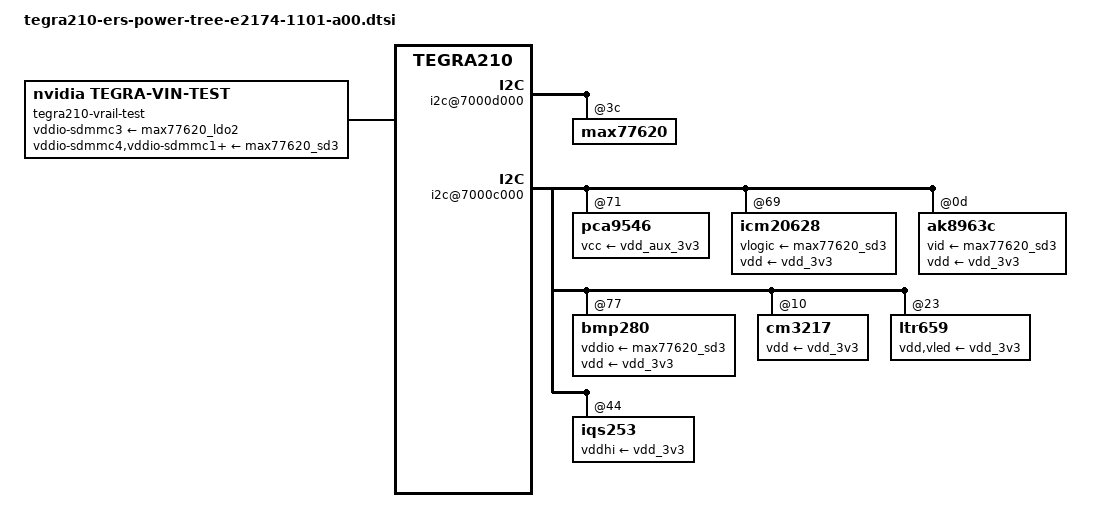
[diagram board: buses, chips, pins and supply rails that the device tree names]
/*
 * Copyright (c) 2014-2016, NVIDIA CORPORATION.  All rights reserved.
 *
 * This program is free software; you can redistribute it and/or modify
 * it under the terms of the GNU General Public License as published by
 * the Free Software Foundation; either version 2 of the License, or
 * (at your option) any later version.
 *
 * This program is distributed in the hope that it will be useful, but WITHOUT
 * ANY WARRANTY; without even the implied warranty of MERCHANTABILITY or
 * FITNESS FOR A PARTICULAR PURPOSE.  See the GNU General Public License for
 * more details.
 *
 * You should have received a copy of the GNU General Public License along
 * with this program; if not, write to the Free Software Foundation, Inc.,
 * 51 Franklin Street, Fifth Floor, Boston, MA  02110-1301, USA.
 */

#include "tegra210-ers-pmic-e2174-1101-a00.dtsi"
#include "tegra210-ers-fixed-e2174-1101-a00.dtsi"
#include "tegra210-ers-power-dvfs-e2174-1101-a00.dtsi"

/ {
	i2c@7000d000 {
		max77620@3c {
			regulators {
				sd0 {
					regulator-enable-ramp-delay = <120>;
					regulator-disable-ramp-delay = <1720>;
					regulator-ramp-delay = <27500>;
					regulator-ramp-delay-scale = <400>;
				};

				sd1 {
					regulator-enable-ramp-delay = <120>;
					regulator-disable-ramp-delay = <29200>;
					regulator-ramp-delay = <27500>;
					regulator-ramp-delay-scale = <400>;
				};

				sd2 {
					maxim,active-fps-source = <MAX77620_FPS_SRC_1>;
					maxim,suspend-fps-source = <MAX77620_FPS_SRC_NONE>;
					regulator-enable-ramp-delay = <164>;
					regulator-disable-ramp-delay = <7320>;
					regulator-ramp-delay = <27500>;
					regulator-ramp-delay-scale = <400>;
				};

				sd3 {
					regulator-enable-ramp-delay = <204>;
					regulator-disable-ramp-delay = <58000>;
					regulator-ramp-delay = <27500>;
					regulator-ramp-delay-scale = <400>;
				};

				ldo0 {
					regulator-enable-ramp-delay = <88>;
					regulator-disable-ramp-delay = <4480>;
					regulator-ramp-delay = <100000>;
					regulator-ramp-delay-scale = <800>;
				};

				ldo1 {
					regulator-enable-ramp-delay = <96>;
					regulator-disable-ramp-delay = <3160>;
					regulator-ramp-delay = <100000>;
					regulator-ramp-delay-scale = <1050>;
				};

				ldo2 {
					regulator-enable-ramp-delay = <124>;
					regulator-disable-ramp-delay = <5160>;
					regulator-ramp-delay = <100000>;
					regulator-ramp-delay-scale = <800>;
				};

				ldo3 {
					regulator-enable-ramp-delay = <56>;
					regulator-disable-ramp-delay = <788>;
					regulator-ramp-delay = <100000>;
					regulator-ramp-delay-scale = <200>;
				};

				ldo4 {
					regulator-enable-ramp-delay = <18>;
					regulator-disable-ramp-delay = <568>;
					regulator-ramp-delay = <100000>;
					regulator-ramp-delay-scale = <200>;
				};

				ldo5 {
					regulator-enable-ramp-delay = <300>;
					regulator-disable-ramp-delay = <7360>;
					regulator-ramp-delay = <100000>;
					regulator-ramp-delay-scale = <1100>;
				};

				ldo6 {
					regulator-enable-ramp-delay = <204>;
					regulator-disable-ramp-delay = <4720>;
					regulator-ramp-delay = <100000>;
					regulator-ramp-delay-scale = <800>;
				};

				ldo7 {
					maxim,active-fps-source = <MAX77620_FPS_SRC_1>;
					maxim,suspend-fps-source = <MAX77620_FPS_SRC_NONE>;
					regulator-enable-ramp-delay = <112>;
					regulator-disable-ramp-delay = <11720>;
					regulator-ramp-delay = <100000>;
					regulator-ramp-delay-scale = <1100>;
				};

				ldo8 {
					regulator-enable-ramp-delay = <48>;
					regulator-disable-ramp-delay = <6160>;
					regulator-ramp-delay = <100000>;
					regulator-ramp-delay-scale = <500>;
				};
			};
		};
	};

	regulators {
		regulator@1 {
			regulator-enable-ramp-delay = <720>;
			regulator-disable-ramp-delay = <14480>;
		};

		regulator@2 {
			regulator-enable-ramp-delay = <1056>;
			regulator-disable-ramp-delay = <2580>;
		};

		regulator@4 {
			regulator-enable-ramp-delay = <360>;
			regulator-disable-ramp-delay = <5880>;
		};

		regulator@5 {
			regulator-enable-ramp-delay = <704>;
			regulator-disable-ramp-delay = <220>;
		};

		regulator@6 {
			regulator-enable-ramp-delay = <3000>;
			regulator-disable-ramp-delay = <584000>;
		};

		regulator@7 {
			regulator-enable-ramp-delay = <468>;
			regulator-disable-ramp-delay = <398>;
		};

		regulator@12 {
			regulator-enable-ramp-delay = <340>;
			regulator-disable-ramp-delay = <6480>;
		};

			
		vdd_usb_5v0: regulator@11 {
			status = "okay";
			gpio = <&pca9539_76 6 0>;
		};

		vdd_usb_oc_5v0: regulator@21 {
			compatible = "regulator-pinmux-fixed";
			reg = <21>;
			status = "okay";
			regulator-name = "vdd-usb-oc-5v0";
			regulator-min-microvolt = <5000000>;
			regulator-max-microvolt = <5000000>;
			vin-supply = <&vdd_3v3>;
			enable-active-high;
			pinctrl-names = "enable", "disable";
			pinctrl-0 = <&regulator_enable_state>;
			pinctrl-1 = <&regulator_disable_state>;
		};

		vdd_cdc_1v2_aud: regulator@101 {
			status = "okay";
			gpio = <&pca9539_76 9 0>;
		};
	};

	efuse@7000f800 {
		vpp_fuse-supply = <&max77620_sd3>;
	};

	host1x {
		/* tegradc.0 */
		dc@54200000 {
			avdd_dsi_csi-supply = <&max77620_gpio7>;
			avdd_lcd-supply = <&max77620_gpio7>;
			dvdd_lcd-supply = <&max77620_sd3>;
			vdd_lcd_bl_en-supply = <&lcd_bl_en>;
			vdd_lcd_bl-supply = <&battery_reg>;
			vdd_ds_1v8-supply = <&battery_reg>;
		};
		/* tegradc.1 */
		dc@54240000 {
			avdd_hdmi-supply = <&max77620_ldo8>;
			avdd_hdmi_pll-supply = <&max77620_sd3>;
			vdd_hdmi_5v0-supply = <&vdd_hdmi>;
			vdd_lcd_bl-supply = <&battery_reg>;
			vdd_ds_1v8-supply = <&battery_reg>;

			/* dp */
			vdd-dp-pwr-supply = <&vdd_3v3>;
			avdd-dp-pll-supply = <&max77620_sd3>;
			vdd-edp-sec-mode-supply = <&vdd_sys_boost>;
			vdd-dp-pad-supply = <&max77620_ldo8>;
		};
		vi {
			avdd_dsi_csi-supply = <&max77620_gpio7>;
		};
		i2c@546c0000 {
			bus-pullup-supply = <&en_vdd_cam>;
		};
	};

	i2c@7000c000 {
		pca9546@71 {
			vcc-supply = <&vdd_aux_3v3>;
		};

		icm20628@69 {
			vlogic-supply = <&max77620_sd3>;
			vdd-supply = <&vdd_3v3>;
		};

		ak8963c@0d {
			vid-supply = <&max77620_sd3>;
			vdd-supply = <&vdd_3v3>;
		};

		bmp280@77 {
			vddio-supply = <&max77620_sd3>;
			vdd-supply = <&vdd_3v3>;
		};

		cm3217@10 {
			vdd-supply = <&vdd_3v3>;
		};

		ltr659@23 {
			vdd-supply = <&vdd_3v3>;
			vled-supply = <&vdd_3v3>;
		};

		iqs253@44 {
			vddhi-supply = <&vdd_3v3>;
		};
	};

	xusb@70090000 {
		usb_vbus0-supply = <&usb0_vbus>;
		/* Use the below regulators when OC support is enabled
		usb_vbus1-supply = <&vdd_usb_oc_5v0>;
		usb_vbus2-supply = <&vdd_usb_oc_5v0>;
		usb_vbus3-supply = <&vdd_usb_oc_5v0>;
		*/
		usb_vbus1-supply = <&vdd_usb_5v0>;
		usb_vbus2-supply = <&vdd_usb_5v0>;
		usb_vbus3-supply = <&vdd_usb_5v0>;
		hvdd_usb-supply = <&vdd_3v3>;
		avdd_pll_utmip-supply = <&max77620_sd3>;
		vddio_hsic-supply = <&max77620_ldo0>;
		avddio_usb-supply = <&max77620_ldo1>;
		dvdd_sata-supply = <&max77620_ldo8>;
	};

	xudc@700d0000 {
		hvdd_usb-supply = <&vdd_3v3>;
		avdd_pll_utmip-supply = <&max77620_sd3>;
		avddio_usb-supply = <&max77620_ldo1>;
	};

	xotg {
		usb_vbus-supply = <&usb0_vbus>;
	};

	xusb_padctl {
		avdd_pll_uerefe-supply = <&max77620_ldo7>;
		hvdd_pex_pll_e-supply = <&max77620_sd3>;
		dvdd_pex_pll-supply = <&max77620_ldo1>;
		hvddio_pex-supply = <&max77620_sd3>;
		dvddio_pex-supply = <&max77620_ldo1>;
		hvdd_sata-supply = <&max77620_sd3>;
		dvdd_sata_pll-supply = <&max77620_ldo8>;
		hvddio_sata-supply = <&max77620_sd3>;
		dvddio_sata-supply = <&max77620_ldo8>;
	};

        sata@70020000 {
		dvdd_sata_pll-supply = <&max77620_ldo8>;
		hvdd_sata-supply = <&max77620_sd3>;
		l0_hvddio_sata-supply = <&max77620_sd3>;
		l0_dvddio_sata-supply = <&max77620_ldo8>;
		hvdd_pex_pll_e-supply = <&max77620_sd3>;
        };

	sound {
		ldoen-supply = <&vdd_cdc_1v2_aud>;
		spkvdd-supply = <&vdd_sys_boost>;
		dbvdd-supply = <&max77620_sd3>;
		avdd-supply = <&max77620_sd3>;
		dmicvdd-supply = <&max77620_sd3>;
	};

	pmc-iopower {
		iopower-sys-supply = <&max77620_sd3>;
		iopower-uart-supply = <&max77620_sd3>;
		iopower-audio-supply = <&max77620_sd3>;
		iopower-cam-supply = <&max77620_sd3>;
		iopower-pex-ctrl-supply = <&max77620_sd3>;
		iopower-sdmmc1-supply = <&max77620_sd3>;
		iopower-sdmmc3-supply = <&max77620_ldo2>;
		iopower-sdmmc4-supply = <&max77620_sd3>;
		iopower-audio-hv-supply = <&max77620_sd3>;
		iopower-debug-supply = <&max77620_sd3>;
		iopower-dmic-supply = <&max77620_sd3>;
		iopower-gpio-supply = <&max77620_sd3>;
		iopower-spi-supply = <&max77620_sd3>;
		iopower-spi-hv-supply = <&max77620_sd3>;
		iopower-sdmmc2-supply = <&max77620_sd3>;
		iopower-dp-supply = <&max77620_sd3>;
	};

	udc@7d000000 {
		avdd_usb-supply = <&vdd_3v3>;
		avdd_pll_utmip-supply = <&max77620_sd3>;
		usb_bat_chg-supply = <&battery_charger>;
	};

	usb_cd@7009f000 {
		usb_bat_chg-supply = <&battery_charger>;
	};

	otg@7d000000 {
		usb_vbus-supply = <&usb0_vbus>;
	};

	ehci@7d000000 {
		avdd_usb-supply = <&vdd_3v3>;
		avdd_pll_utmip-supply = <&max77620_sd3>;
		usb_vbus-supply = <&usb0_vbus>;
	};

	bluedroid_pm {
		avdd-supply = <&battery_reg>;
		dvdd-supply = <&max77620_sd3>;
	};

	tegra210-vrail-test {
		compatible = "nvidia,tegra-vin-test";
		vddio-sdmmc3-supply = <&max77620_ldo2>;
		vddio-sdmmc4-supply = <&max77620_sd3>;
		vddio-sdmmc1-supply =  <&max77620_sd3>;
		vddio-sdmmc2-supply = <&max77620_sd3>;
	};

	pmc@7000e400 {
		bootrom-commands {
			commands@4-003c {
				nvidia,command-names = "pmic-rails";
				reg = <0x3c>;
				nvidia,enable-8bit-register;
				nvidia,enable-8bit-data;
				nvidia,controller-type-i2c;
				nvidia,controller-id = <4>;
				nvidia,enable-controller-reset;
				nvidia,write-commands = <0x00000016 0x00000020>;
			};
		};
	};
};
